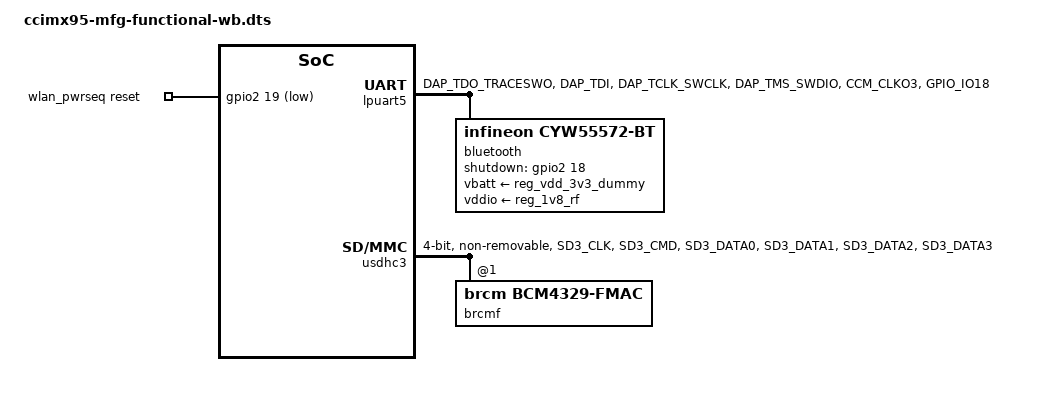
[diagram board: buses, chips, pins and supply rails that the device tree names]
// SPDX-License-Identifier: (GPL-2.0+ OR MIT)
/*
 * Copyright 2026, Digi International Inc.
 */

/dts-v1/;

#include "../freescale/imx95-pinfunc.h"
#include "../freescale/imx95-clock.h"
#include <dt-bindings/gpio/gpio.h>

/* Digi ConnectCore 95 Functional Test board */
#include "ccimx95-mfg-functional.dts"

/ {
	bluetooth {
		/* U-Boot will fill in the MAC address here */
	};

	wireless {
		/* U-Boot will fill in the MAC address here */
	};

	wlan_pwrseq: wlan-pwrseq {
		compatible = "mmc-pwrseq-simple";
		pinctrl-names = "default";
		pinctrl-0 = <&pinctrl_wifi_ctrl>;
		reset-gpios = <&gpio2 19 GPIO_ACTIVE_LOW>; /* WL_REG_ON */
		/* Use CCM CKO3 to clock the Wi-Fi chipset */
		clocks = <&scmi_clk IMX95_CLK_CCMCKO3>;
		clock-names = "ext_clock";
		/* Configure CCMCKO3 to be sourced from 32K */
		assigned-clocks = <&scmi_clk IMX95_CLK_CCMCKO3>;
		assigned-clock-parents = <&scmi_clk IMX95_CLK_32K>;
		status = "okay";
	};
};

&lpuart5 {
	pinctrl-names = "default";
	pinctrl-0 = <&pinctrl_uart5_bt>, <&pinctrl_bt_ctrl>;
	status = "okay";

	bluetooth {
		compatible = "infineon,cyw55572-bt";
		shutdown-gpios = <&gpio2 18 GPIO_ACTIVE_HIGH>; /* BT_REG_EN */
		max-speed = <3000000>;
		brcm,requires-autobaud-mode;
		vbatt-supply = <&reg_vdd_3v3_dummy>;
		vddio-supply = <&reg_1v8_rf>;
		/* Use CCM CKO3 to clock the Wi-Fi chipset */
		clocks = <&scmi_clk IMX95_CLK_CCMCKO3>;
		clock-names = "txco";
		/* Configure CCMCKO3 to be sourced from 32K */
		assigned-clocks = <&scmi_clk IMX95_CLK_CCMCKO3>;
		assigned-clock-parents = <&scmi_clk IMX95_CLK_32K>;
		status = "okay";
	};
};

&reg_1v8_rf {
	status = "okay";
};

&usdhc3 {
	pinctrl-names = "default", "state_100mhz", "state_200mhz", "sleep";
	pinctrl-0 = <&pinctrl_usdhc3>;
	pinctrl-1 = <&pinctrl_usdhc3_100mhz>;
	pinctrl-2 = <&pinctrl_usdhc3_200mhz>;
	pinctrl-3 = <&pinctrl_usdhc3>;
	mmc-pwrseq = <&wlan_pwrseq>;
	vqmmc-supply = <&reg_1v8_rf>;
	bus-width = <4>;
	cap-power-off-card;
	non-removable;
	wakeup-source;
	max-frequency = <100000000>;
	#address-cells = <1>;
	#size-cells = <0>;
	status = "okay";

	brcmf: bcrmf@1 {
		reg = <1>;
		compatible = "brcm,bcm4329-fmac";
	};
};

&scmi_iomuxc {
	pinctrl-0 = <&pinctrl_gpio>;

	pinctrl_bt_ctrl: btctrl {
		fsl,pins = <
			/* 32 kHz clock */
			IMX95_PAD_CCM_CLKO3__CCMSRCGPCMIX_TOP_CLKO_3	0x111e
			/* BT_REG_EN */
			IMX95_PAD_GPIO_IO18__GPIO2_IO_BIT18	0x31e
		>;
	};

	pinctrl_uart5_bt: uart5grpbt {
		fsl,pins = <
			IMX95_PAD_DAP_TDO_TRACESWO__LPUART5_TX	0x31e
			IMX95_PAD_DAP_TDI__LPUART5_RX		0x31e
			IMX95_PAD_DAP_TCLK_SWCLK__LPUART5_CTS_B	0x31e
			IMX95_PAD_DAP_TMS_SWDIO__LPUART5_RTS_B	0x31e
		>;
	};

	pinctrl_usdhc3: usdhc3grp {
		fsl,pins = <
			IMX95_PAD_SD3_CLK__USDHC3_CLK				0x1582
			IMX95_PAD_SD3_CMD__USDHC3_CMD				0x1382
			IMX95_PAD_SD3_DATA0__USDHC3_DATA0			0x1382
			IMX95_PAD_SD3_DATA1__USDHC3_DATA1			0x1382
			IMX95_PAD_SD3_DATA2__USDHC3_DATA2			0x1382
			IMX95_PAD_SD3_DATA3__USDHC3_DATA3			0x1382
		>;
	};

	pinctrl_usdhc3_100mhz: usdhc3-100mhzgrp {
		fsl,pins = <
			IMX95_PAD_SD3_CLK__USDHC3_CLK				0x158e
			IMX95_PAD_SD3_CMD__USDHC3_CMD				0x138e
			IMX95_PAD_SD3_DATA0__USDHC3_DATA0			0x138e
			IMX95_PAD_SD3_DATA1__USDHC3_DATA1			0x138e
			IMX95_PAD_SD3_DATA2__USDHC3_DATA2			0x138e
			IMX95_PAD_SD3_DATA3__USDHC3_DATA3			0x138e
		>;
	};

	pinctrl_usdhc3_200mhz: usdhc3-200mhzgrp {
		fsl,pins = <
			IMX95_PAD_SD3_CLK__USDHC3_CLK				0x15fe
			IMX95_PAD_SD3_CMD__USDHC3_CMD				0x13fe
			IMX95_PAD_SD3_DATA0__USDHC3_DATA0			0x13fe
			IMX95_PAD_SD3_DATA1__USDHC3_DATA1			0x13fe
			IMX95_PAD_SD3_DATA2__USDHC3_DATA2			0x13fe
			IMX95_PAD_SD3_DATA3__USDHC3_DATA3			0x13fe
		>;
	};

	pinctrl_wifi_ctrl: wifictrl {
		fsl,pins = <
			/* 32 kHz clock */
			IMX95_PAD_CCM_CLKO3__CCMSRCGPCMIX_TOP_CLKO_3	0x111e
			/* WL_REG_ON */
			IMX95_PAD_GPIO_IO19__GPIO2_IO_BIT19	0x31e
		>;
	};
};
